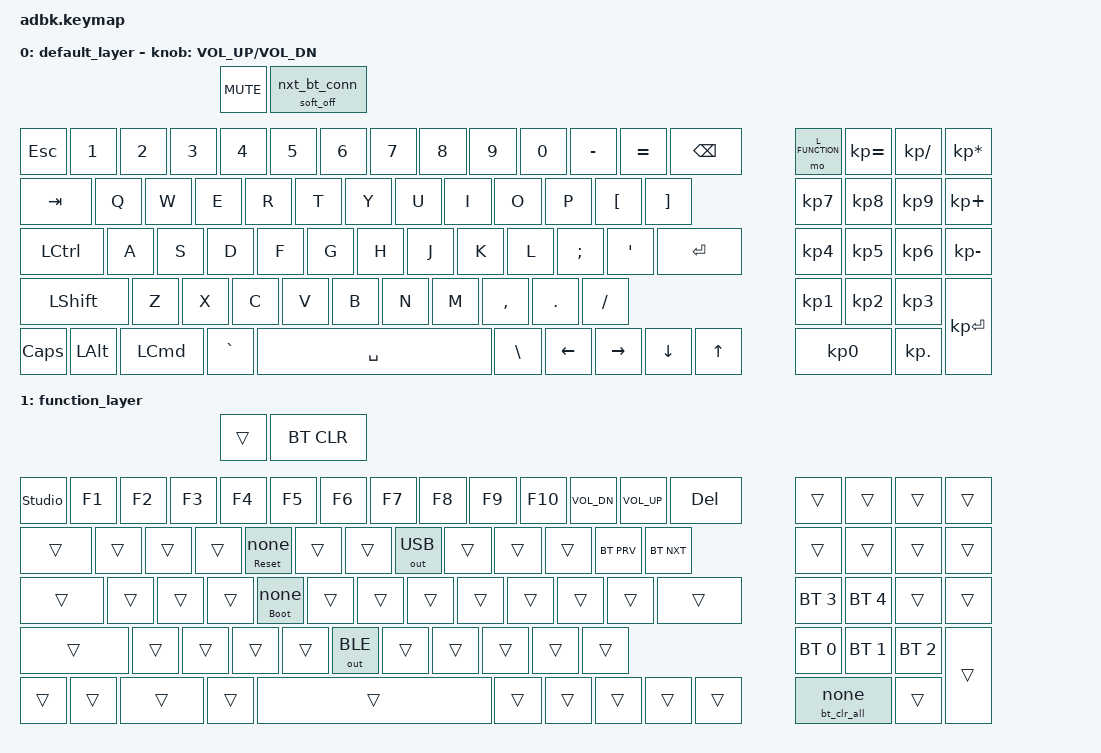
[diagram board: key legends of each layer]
#include <dt-bindings/zmk/keys.h>
#include <behaviors.dtsi>
#include <dt-bindings/zmk/bt.h>
#include <dt-bindings/zmk/outputs.h>

#define L_DEFAULT   0
#define L_FUNCTION  1

/* The minimal builds pass -DDTS_EXTRA_CPPFLAGS=-DADBK_NO_ENCODER (see build.yaml) */
#ifndef ADBK_NO_ENCODER
&digital_crown {
    status = "okay";
};
#endif

/ {
    behaviors {
        pwrbtn: pwrbtn {
            compatible = "zmk,behavior-hold-tap";
            display-name = "Power / Next BT";
            #binding-cells = <2>;
            flavor = "hold-preferred";
            tapping-term-ms = <2000>;
            bindings = <&soft_off>, <&nxt_bt_conn>;
        };

        /*
         * Disruptive actions on the Fn layer need a 1 second hold. A tap does
         * nothing. "tap-preferred" means another key press during the hold
         * does not trigger the action (safe if you forget the Fn layer is on).
         */
        hold_reset: hold_reset {
            compatible = "zmk,behavior-hold-tap";
            display-name = "Hold: Restart";
            #binding-cells = <2>;
            flavor = "tap-preferred";
            tapping-term-ms = <1000>;
            bindings = <&sys_reset>, <&none>;
        };

        hold_boot: hold_boot {
            compatible = "zmk,behavior-hold-tap";
            display-name = "Hold: Bootloader";
            #binding-cells = <2>;
            flavor = "tap-preferred";
            tapping-term-ms = <1000>;
            bindings = <&bootloader>, <&none>;
        };

        hold_clr_all: hold_clr_all {
            compatible = "zmk,behavior-hold-tap";
            display-name = "Hold: Clear All BT";
            #binding-cells = <2>;
            flavor = "tap-preferred";
            tapping-term-ms = <1000>;
            bindings = <&bt_clr_all>, <&none>;
        };
    };

    macros {
        nxt_bt_conn: nxt_bt_conn {
            compatible = "zmk,behavior-macro";
            display-name = "Next BT Profile";
            #binding-cells = <0>;
            bindings = <&bt BT_NXT>;
        };

        /* &bt BT_CLR_ALL has two parameters, a hold-tap passes only one */
        bt_clr_all: bt_clr_all {
            compatible = "zmk,behavior-macro";
            display-name = "Clear All BT";
            #binding-cells = <0>;
            bindings = <&bt BT_CLR_ALL>;
        };
    };

    sensors {
        compatible = "zmk,keymap-sensors";
        sensors = <&digital_crown>;
    };

    keymap {
        compatible = "zmk,keymap";
        default_layer {
            bindings = <
                &kp C_MUTE  &pwrbtn 0 0
    &kp ESC     &kp N1      &kp N2      &kp N3      &kp N4      &kp N5      &kp N6      &kp N7      &kp N8      &kp N9      &kp N0      &kp MINUS   &kp EQUAL       &kp BSPC        &mo L_FUNCTION  &kp KP_EQUAL    &kp KP_SLASH    &kp KP_ASTERISK
    &kp TAB     &kp Q       &kp W       &kp E       &kp R       &kp T       &kp Y       &kp U       &kp I       &kp O       &kp P       &kp LBKT    &kp RBKT                        &kp KP_N7       &kp KP_N8       &kp KP_N9       &kp KP_PLUS
    &kp LCTRL   &kp A       &kp S       &kp D       &kp F       &kp G       &kp H       &kp J       &kp K       &kp L       &kp SEMI    &kp APOS    &kp RET                         &kp KP_N4       &kp KP_N5       &kp KP_N6       &kp KP_MINUS
    &kp LSHIFT  &kp Z       &kp X       &kp C       &kp V       &kp B       &kp N       &kp M       &kp COMMA   &kp DOT     &kp FSLH                                                &kp KP_N1       &kp KP_N2       &kp KP_N3
    &kp CAPS    &kp LALT    &kp LCMD    &kp GRAVE                           &kp SPACE               &kp BSLH    &kp LEFT    &kp RIGHT   &kp DOWN    &kp UP                          &kp KP_N0                       &kp KP_DOT      &kp KP_ENTER
    >;
        sensor-bindings = <&inc_dec_kp C_VOL_UP C_VOL_DN>;
        };

        function_layer {
            bindings = <
                   &trans      &bt BT_CLR
    &studio_unlock &kp F1      &kp F2      &kp F3      &kp F4          &kp F5       &kp F6      &kp F7       &kp F8      &kp F9      &kp F10     &kp C_VOL_DN &kp C_VOL_UP    &kp DELETE      &trans            &trans          &trans          &trans
    &trans         &trans      &trans      &trans      &hold_reset 0 0 &trans       &trans      &out OUT_USB &trans      &trans      &trans      &bt BT_PRV   &bt BT_NXT                      &trans            &trans          &trans          &trans
    &trans         &trans      &trans      &trans      &hold_boot 0 0  &trans       &trans      &trans       &trans      &trans      &trans      &trans       &trans                          &bt BT_SEL 3      &bt BT_SEL 4    &trans          &trans
    &trans         &trans      &trans      &trans      &trans          &out OUT_BLE &trans      &trans       &trans      &trans      &trans                                                   &bt BT_SEL 0      &bt BT_SEL 1    &bt BT_SEL 2
    &trans         &trans      &trans      &trans                                   &trans                   &trans      &trans      &trans      &trans       &trans                          &hold_clr_all 0 0                 &trans          &trans
    >;
        };
    };
};
